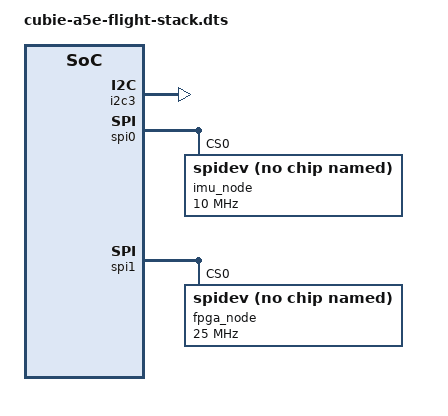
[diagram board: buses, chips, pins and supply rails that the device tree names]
/dts-v1/;
/plugin/;

&i2c3 {
    status = "okay";
    pinctrl-names = "default";
};

&spi0 {
    status = "okay";
    pinctrl-names = "default";
    num-cs = <1>;
    imu_node@0 {
        compatible = "rohm,dh2228fv";
        reg = <0>;
        spi-max-frequency = <10000000>;
        status = "okay";
    };
};

&spi1 {
    status = "okay";
    pinctrl-names = "default";
    num-cs = <1>;
    fpga_node@0 {
        compatible = "rohm,dh2228fv";
        reg = <0>;
        spi-max-frequency = <25000000>;
        status = "okay";
    };
};
